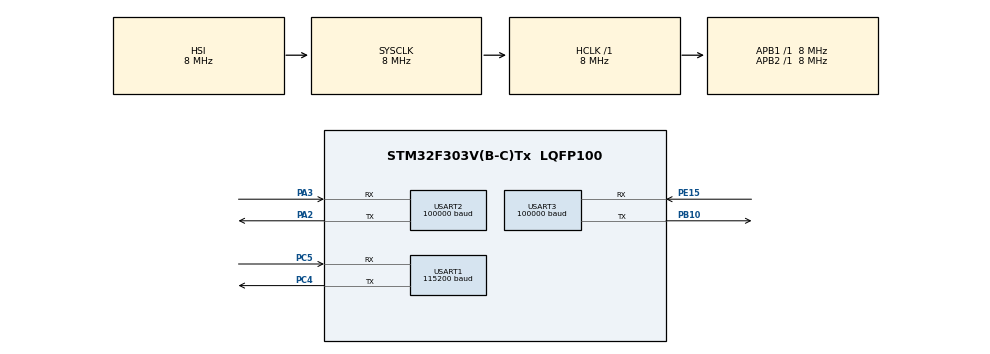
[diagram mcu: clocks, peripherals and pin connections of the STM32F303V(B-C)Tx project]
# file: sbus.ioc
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Mcu.Family=STM32F3
Mcu.Name=STM32F303V(B-C)Tx
Mcu.Package=LQFP100
NVIC.PriorityGroup=NVIC_PRIORITYGROUP_4
NVIC.USART2_IRQn=true\:0\:0\:false\:false\:true
NVIC.USART3_IRQn=true\:0\:0\:false\:false\:true
PA2.Mode=Asynchronous
PA2.Signal=USART2_TX
PA3.Mode=Asynchronous
PA3.Signal=USART2_RX
PB10.Mode=Asynchronous
PB10.Signal=USART3_TX
PC4.Mode=Asynchronous
PC4.Signal=USART1_TX
PC5.Mode=Asynchronous
PC5.Signal=USART1_RX
PE15.Mode=Asynchronous
PE15.Signal=USART3_RX
ProjectManager.HeapSize=0x200
ProjectManager.StackSize=0x400
ProjectManager.TargetToolchain=SW4STM32
RCC.AHBFreq_Value=8000000
RCC.APB1Freq_Value=8000000
RCC.APB2Freq_Value=8000000
RCC.CortexFreq_Value=8000000
RCC.HSE_VALUE=8000000
RCC.HSI_VALUE=8000000
RCC.LSE_VALUE=32768
RCC.SYSCLKFreq_VALUE=8000000
USART1.BaudRate=115200
USART2.BaudRate=100000
USART2.Parity=UART_PARITY_EVEN
USART2.StopBits=UART_STOPBITS_2
USART3.BaudRate=100000
USART3.Parity=UART_PARITY_EVEN
USART3.StopBits=UART_STOPBITS_2
board=sbus

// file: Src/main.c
/**
  ******************************************************************************
  * File Name          : main.c
  * Description        : Main program body
  ******************************************************************************
  *
  * COPYRIGHT(c) 2016 STMicroelectronics
  *
  * Redistribution and use in source and binary forms, with or without modification,
  * are permitted provided that the following conditions are met:
  *   1. Redistributions of source code must retain the above copyright notice,
  *      this list of conditions and the following disclaimer.
  *   2. Redistributions in binary form must reproduce the above copyright notice,
  *      this list of conditions and the following disclaimer in the documentation
  *      and/or other materials provided with the distribution.
  *   3. Neither the name of STMicroelectronics nor the names of its contributors
  *      may be used to endorse or promote products derived from this software
  *      without specific prior written permission.
  *
  * THIS SOFTWARE IS PROVIDED BY THE COPYRIGHT HOLDERS AND CONTRIBUTORS "AS IS"
  * AND ANY EXPRESS OR IMPLIED WARRANTIES, INCLUDING, BUT NOT LIMITED TO, THE
  * IMPLIED WARRANTIES OF MERCHANTABILITY AND FITNESS FOR A PARTICULAR PURPOSE ARE
  * DISCLAIMED. IN NO EVENT SHALL THE COPYRIGHT HOLDER OR CONTRIBUTORS BE LIABLE
  * FOR ANY DIRECT, INDIRECT, INCIDENTAL, SPECIAL, EXEMPLARY, OR CONSEQUENTIAL
  * DAMAGES (INCLUDING, BUT NOT LIMITED TO, PROCUREMENT OF SUBSTITUTE GOODS OR
  * SERVICES; LOSS OF USE, DATA, OR PROFITS; OR BUSINESS INTERRUPTION) HOWEVER
  * CAUSED AND ON ANY THEORY OF LIABILITY, WHETHER IN CONTRACT, STRICT LIABILITY,
  * OR TORT (INCLUDING NEGLIGENCE OR OTHERWISE) ARISING IN ANY WAY OUT OF THE USE
  * OF THIS SOFTWARE, EVEN IF ADVISED OF THE POSSIBILITY OF SUCH DAMAGE.
  *
  ******************************************************************************
  */
#include "stm32f3xx_hal.h"

/* USER CODE BEGIN Includes */
#include "sbus.h"

/* USER CODE END Includes */

UART_HandleTypeDef huart1;
UART_HandleTypeDef huart2;
UART_HandleTypeDef huart3;

/* USER CODE BEGIN PV */
/* Private variables ---------------------------------------------------------*/

/* USER CODE END PV */

void SystemClock_Config(void);
void Error_Handler(void);
static void MX_GPIO_Init(void);
static void MX_USART1_UART_Init(void);
static void MX_USART2_UART_Init(void);
static void MX_USART3_UART_Init(void);

/* USER CODE BEGIN PFP */
/* Private function prototypes -----------------------------------------------*/

/* USER CODE END PFP */

/* USER CODE BEGIN 0 */

char rx_data_prim[2], rx_buffer_prim[25];
sbusportdata_t sbus_prim;
uint8_t rx_index_prim = 0;
uint8_t packet_recvd_prim = 0;

char rx_data_sec[2], rx_buffer_sec[25];
sbusportdata_t sbus_sec;
uint8_t rx_index_sec = 0;
uint8_t packet_recvd_sec = 0;

//Interrupt callback routine
void HAL_UART_RxCpltCallback(UART_HandleTypeDef *huart)
{
	if (huart->Instance == USART2)	//current UART
		{
      uint8_t discard = 0;
      if(rx_index_prim == 0 && rx_data_prim[0] != 0x0F) discard = 1;

      if(!discard){
        rx_buffer_prim[rx_index_prim++] = rx_data_prim[0];
      }
      if(rx_index_prim == 25 ){
        rx_index_prim = 0;
        packet_recvd_prim = 1;
        __HAL_UART_DISABLE_IT(&huart2, UART_IT_RXNE);
      }
      HAL_UART_Receive_IT(&huart2, rx_data_prim, 1);	//activate UART receive interrupt every time
		}
    if (huart->Instance == USART3)	//current UART
		{
      uint8_t discard = 0;
      if(rx_index_sec == 0 && rx_data_sec[0] != 0x0F) discard = 1;

      if(!discard){
        rx_buffer_sec[rx_index_sec++] = rx_data_sec[0];
      }
      if(rx_index_sec == 25 ){
        rx_index_sec = 0;
        packet_recvd_sec = 1;
        __HAL_UART_DISABLE_IT(&huart3, UART_IT_RXNE);
      }
      HAL_UART_Receive_IT(&huart3, rx_data_sec, 1);	//activate UART receive interrupt every time
		}

}

/* USER CODE END 0 */

int main(void)
{

  /* MCU Configuration----------------------------------------------------------*/

  /* Reset of all peripherals, Initializes the Flash interface and the Systick. */
  HAL_Init();

  /* Configure the system clock */
  SystemClock_Config();

  /* Initialize all configured peripherals */
  MX_GPIO_Init();
  MX_USART1_UART_Init();
  MX_USART2_UART_Init();
  MX_USART3_UART_Init();

  /* USER CODE BEGIN 2 */

  HAL_UART_Receive_IT(&huart2, rx_data_prim, 1);	//activate UART receive interrupt every time
  HAL_UART_Receive_IT(&huart3, rx_data_sec, 1);	//activate UART receive interrupt every time
  HAL_UART_Transmit(&huart1, "Starting Up...\n\r", 16, 1000);
  /* USER CODE END 2 */

  /* Infinite loop */
  while (1)
  {

  /* USER CODE BEGIN 3 */

    if(packet_recvd_prim){
      sbusDecode(rx_buffer_prim, &sbus_prim);
      packet_recvd_prim = 0;
      __HAL_UART_ENABLE_IT(&huart2, UART_IT_RXNE);
    }
    if(packet_recvd_sec){
      sbusDecode(rx_buffer_sec, &sbus_sec);
      packet_recvd_sec = 0;
      __HAL_UART_ENABLE_IT(&huart3, UART_IT_RXNE);
    }

    HAL_UART_Transmit(&huart1, "PRIM", 4, 1000);
    sbusPrint(&huart1, &sbus_prim);
    HAL_UART_Transmit(&huart1, "SEC", 4, 1000);
    sbusPrint(&huart1, &sbus_sec);

  }
  /* USER CODE END 3 */

}

/** System Clock Configuration
*/
void SystemClock_Config(void)
{

  RCC_OscInitTypeDef RCC_OscInitStruct;
  RCC_ClkInitTypeDef RCC_ClkInitStruct;
  RCC_PeriphCLKInitTypeDef PeriphClkInit;

  RCC_OscInitStruct.OscillatorType = RCC_OSCILLATORTYPE_HSI;
  RCC_OscInitStruct.HSIState = RCC_HSI_ON;
  RCC_OscInitStruct.HSICalibrationValue = 16;
  RCC_OscInitStruct.PLL.PLLState = RCC_PLL_NONE;
  if (HAL_RCC_OscConfig(&RCC_OscInitStruct) != HAL_OK)
  {
    Error_Handler();
  }

  RCC_ClkInitStruct.ClockType = RCC_CLOCKTYPE_HCLK|RCC_CLOCKTYPE_SYSCLK
                              |RCC_CLOCKTYPE_PCLK1|RCC_CLOCKTYPE_PCLK2;
  RCC_ClkInitStruct.SYSCLKSource = RCC_SYSCLKSOURCE_HSI;
  RCC_ClkInitStruct.AHBCLKDivider = RCC_SYSCLK_DIV1;
  RCC_ClkInitStruct.APB1CLKDivider = RCC_HCLK_DIV1;
  RCC_ClkInitStruct.APB2CLKDivider = RCC_HCLK_DIV1;
  if (HAL_RCC_ClockConfig(&RCC_ClkInitStruct, FLASH_LATENCY_0) != HAL_OK)
  {
    Error_Handler();
  }

  PeriphClkInit.PeriphClockSelection = RCC_PERIPHCLK_USART1|RCC_PERIPHCLK_USART2
                              |RCC_PERIPHCLK_USART3;
  PeriphClkInit.Usart1ClockSelection = RCC_USART1CLKSOURCE_PCLK2;
  PeriphClkInit.Usart2ClockSelection = RCC_USART2CLKSOURCE_PCLK1;
  PeriphClkInit.Usart3ClockSelection = RCC_USART3CLKSOURCE_PCLK1;
  if (HAL_RCCEx_PeriphCLKConfig(&PeriphClkInit) != HAL_OK)
  {
    Error_Handler();
  }

  HAL_SYSTICK_Config(HAL_RCC_GetHCLKFreq()/1000);

  HAL_SYSTICK_CLKSourceConfig(SYSTICK_CLKSOURCE_HCLK);

  /* SysTick_IRQn interrupt configuration */
  HAL_NVIC_SetPriority(SysTick_IRQn, 0, 0);
}

/* USART1 init function */
static void MX_USART1_UART_Init(void)
{

  huart1.Instance = USART1;
  huart1.Init.BaudRate = 115200;
  huart1.Init.WordLength = UART_WORDLENGTH_8B;
  huart1.Init.StopBits = UART_STOPBITS_1;
  huart1.Init.Parity = UART_PARITY_NONE;
  huart1.Init.Mode = UART_MODE_TX_RX;
  huart1.Init.HwFlowCtl = UART_HWCONTROL_NONE;
  huart1.Init.OverSampling = UART_OVERSAMPLING_16;
  huart1.Init.OneBitSampling = UART_ONE_BIT_SAMPLE_DISABLE;
  huart1.AdvancedInit.AdvFeatureInit = UART_ADVFEATURE_NO_INIT;
  if (HAL_UART_Init(&huart1) != HAL_OK)
  {
    Error_Handler();
  }

}

/* USART2 init function */
static void MX_USART2_UART_Init(void)
{

  huart2.Instance = USART2;
  huart2.Init.BaudRate = 100000;
  huart2.Init.WordLength = UART_WORDLENGTH_8B;
  huart2.Init.StopBits = UART_STOPBITS_2;
  huart2.Init.Parity = UART_PARITY_EVEN;
  huart2.Init.Mode = UART_MODE_TX_RX;
  huart2.Init.HwFlowCtl = UART_HWCONTROL_NONE;
  huart2.Init.OverSampling = UART_OVERSAMPLING_16;
  huart2.Init.OneBitSampling = UART_ONE_BIT_SAMPLE_DISABLE;
  huart2.AdvancedInit.AdvFeatureInit = UART_ADVFEATURE_NO_INIT;
  if (HAL_UART_Init(&huart2) != HAL_OK)
  {
    Error_Handler();
  }

}

/* USART3 init function */
static void MX_USART3_UART_Init(void)
{

  huart3.Instance = USART3;
  huart3.Init.BaudRate = 100000;
  huart3.Init.WordLength = UART_WORDLENGTH_8B;
  huart3.Init.StopBits = UART_STOPBITS_2;
  huart3.Init.Parity = UART_PARITY_EVEN;
  huart3.Init.Mode = UART_MODE_TX_RX;
  huart3.Init.HwFlowCtl = UART_HWCONTROL_NONE;
  huart3.Init.OverSampling = UART_OVERSAMPLING_16;
  huart3.Init.OneBitSampling = UART_ONE_BIT_SAMPLE_DISABLE;
  huart3.AdvancedInit.AdvFeatureInit = UART_ADVFEATURE_NO_INIT;
  if (HAL_UART_Init(&huart3) != HAL_OK)
  {
    Error_Handler();
  }

}

/** Pinout Configuration
*/
static void MX_GPIO_Init(void)
{

  /* GPIO Ports Clock Enable */
  __HAL_RCC_GPIOA_CLK_ENABLE();
  __HAL_RCC_GPIOC_CLK_ENABLE();
  __HAL_RCC_GPIOE_CLK_ENABLE();
  __HAL_RCC_GPIOB_CLK_ENABLE();

}

void Error_Handler(void)
{
  while(1)
  {
  }
}

/************************ (C) COPYRIGHT STMicroelectronics *****END OF FILE****/
